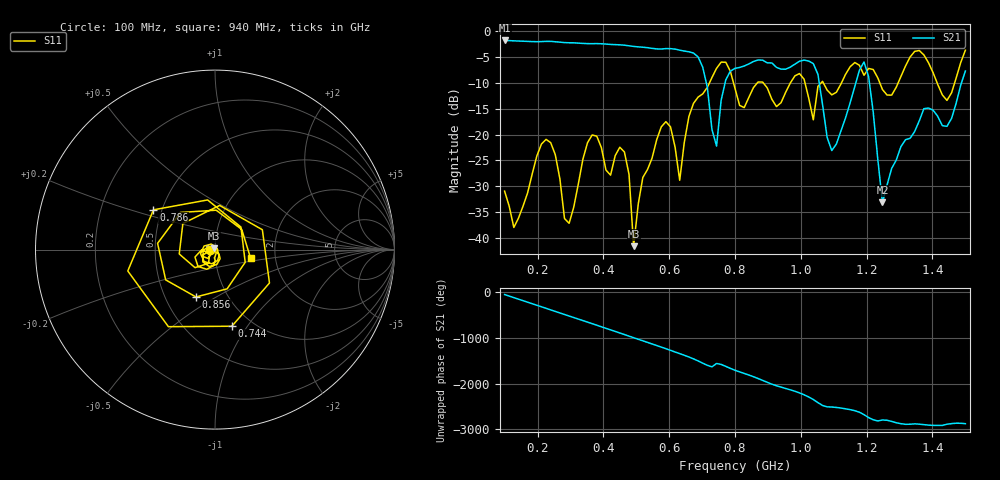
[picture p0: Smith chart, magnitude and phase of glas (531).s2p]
! NanoVNA-App
! Date: 2025-09-25 15:59:36
! Start: 100MHz Stop: 1,5GHz Points: 101
! S-Parameter data: F S11 S21 S12 S22
# Hz S RI R 50
!  Frequency  S11_Real  S11_Imag  S21_Real  S21_Imag  S12_Real  S12_Imag  S22_Real  S22_Imag
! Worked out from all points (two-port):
!   101 points, 100 MHz to 1.5 GHz, reference 50 ohm
!   highest |S21| = -1.80 dB at 100 MHz (marker M1); lowest = -33.1 dB at 1.248 GHz (marker M2)
!   |S21| within 3 dB of the highest: start of sweep to 684.4 MHz
!   lowest |S11| = -41.6 dB at 492 MHz (marker M3), VSWR 1.02, Z = 49.5 + j0.646 ohm
!   |S11| at or under -10 dB: start of sweep to 722.4 MHz; 795.4 MHz to 867.8 MHz (72.39 MHz wide, 8.7 % of centre); 885.9 MHz to 968.3 MHz (82.46 MHz wide, 8.89 % of centre) (the widest 3 of 7)
!   S12 and S22 are empty: the file has one direction only
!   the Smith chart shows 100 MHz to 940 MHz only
!   S11 on the Smith chart (normalised r, x): 100 MHz: 0.95, -0.01; 744 MHz: 0.81, -0.85; 786 MHz: 0.45, +0.24; 856 MHz: 0.71, -0.41; 940 MHz: 1.49, -0.15
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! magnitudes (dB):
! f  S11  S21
! 100 MHz  -30.9  -1.8
! 128 MHz  -37.9  -1.9
! 226 MHz  -20.9  -2.0
! 296 MHz  -37.1  -2.2
! 338 MHz  -24.7  -2.4
! 464 MHz  -23.4  -2.7
! 492 MHz  -41.6  -3.0
! 576 MHz  -18.5  -3.5
! 632 MHz  -28.8  -3.7
! 702 MHz  -12.1  -7.0
! 744 MHz  -7.2  -22.2
! 786 MHz  -7.8  -7.7
! 800 MHz  -11.1  -7.2
! 856 MHz  -10.9  -5.9
! 940 MHz  -13.8  -7.3
! 1.038 GHz  -17.1  -6.3
! 1.094 GHz  -12.3  -23.1
! 1.192 GHz  -8.5  -6.0
! 1.248 GHz  -11.3  -33.1
! 1.276 GHz  -12.4  -26.5
! 1.444 GHz  -13.4  -18.4
! 1.5 GHz  -3.7  -7.7
